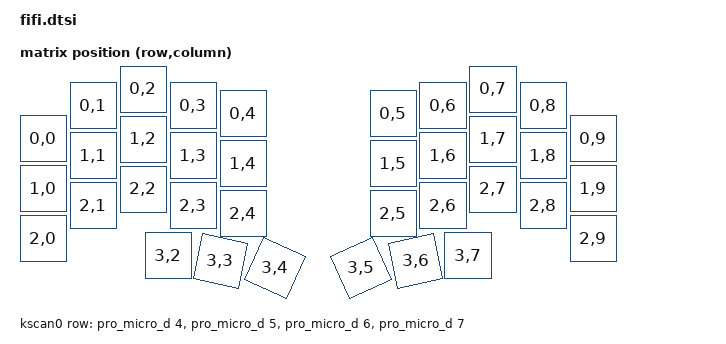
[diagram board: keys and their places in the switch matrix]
#include <dt-bindings/zmk/matrix_transform.h>
#include <physical_layouts.dtsi>

/ {
  chosen {
    zmk,kscan = &kscan0;
    zmk,physical-layout = &default_layout;
  };

  kscan0: kscan0 {
    compatible = "zmk,kscan-gpio-matrix";
    diode-direction = "col2row";
    wakeup-source;
    // defines a 40 key (4x10) grid together with the left/right pinsrow-gpios
    row-gpios
      = <&pro_micro_d 4 (GPIO_ACTIVE_HIGH | GPIO_PULL_DOWN)>
      , <&pro_micro_d 5 (GPIO_ACTIVE_HIGH | GPIO_PULL_DOWN)>
      , <&pro_micro_d 6 (GPIO_ACTIVE_HIGH | GPIO_PULL_DOWN)>
      , <&pro_micro_d 7 (GPIO_ACTIVE_HIGH | GPIO_PULL_DOWN)>
    ;
  };
  
  default_transform: keymap_transform_0 {
    compatible = "zmk,matrix-transform";
    columns = <10>;
    rows = <4>;
    map = <
      RC(0,0) RC(0,1) RC(0,2) RC(0,3) RC(0,4)  RC(0,5) RC(0,6) RC(0,7) RC(0,8) RC(0,9)
      RC(1,0) RC(1,1) RC(1,2) RC(1,3) RC(1,4)  RC(1,5) RC(1,6) RC(1,7) RC(1,8) RC(1,9)
      RC(2,0) RC(2,1) RC(2,2) RC(2,3) RC(2,4)  RC(2,5) RC(2,6) RC(2,7) RC(2,8) RC(2,9)
                      RC(3,2) RC(3,3) RC(3,4)  RC(3,5) RC(3,6) RC(3,7)
    >;
  };

  default_layout: physical_layout_0 {
    compatible = "zmk,physical-layout";
    display-name = "Default Layout";
    transform = <&default_transform>;

    keys  //                   w   h    x    y     rot    rx    ry
      = <&key_physical_attrs 100 100    0   99       0     0     0>
      , <&key_physical_attrs 100 100  100   33       0     0     0>
      , <&key_physical_attrs 100 100  200    0       0     0     0>
      , <&key_physical_attrs 100 100  300   33       0     0     0>
      , <&key_physical_attrs 100 100  400   49       0     0     0>
      , <&key_physical_attrs 100 100  700   49       0     0     0>
      , <&key_physical_attrs 100 100  800   33       0     0     0>
      , <&key_physical_attrs 100 100  900    0       0     0     0>
      , <&key_physical_attrs 100 100 1000   33       0     0     0>
      , <&key_physical_attrs 100 100 1100   99       0     0     0>
      , <&key_physical_attrs 100 100    0  199       0     0     0>
      , <&key_physical_attrs 100 100  100  133       0     0     0>
      , <&key_physical_attrs 100 100  200  100       0     0     0>
      , <&key_physical_attrs 100 100  300  133       0     0     0>
      , <&key_physical_attrs 100 100  400  149       0     0     0>
      , <&key_physical_attrs 100 100  700  149       0     0     0>
      , <&key_physical_attrs 100 100  800  133       0     0     0>
      , <&key_physical_attrs 100 100  900  100       0     0     0>
      , <&key_physical_attrs 100 100 1000  133       0     0     0>
      , <&key_physical_attrs 100 100 1100  199       0     0     0>
      , <&key_physical_attrs 100 100    0  299       0     0     0>
      , <&key_physical_attrs 100 100  100  233       0     0     0>
      , <&key_physical_attrs 100 100  200  200       0     0     0>
      , <&key_physical_attrs 100 100  300  233       0     0     0>
      , <&key_physical_attrs 100 100  400  249       0     0     0>
      , <&key_physical_attrs 100 100  700  249       0     0     0>
      , <&key_physical_attrs 100 100  800  233       0     0     0>
      , <&key_physical_attrs 100 100  900  200       0     0     0>
      , <&key_physical_attrs 100 100 1000  233       0     0     0>
      , <&key_physical_attrs 100 100 1100  299       0     0     0>
      , <&key_physical_attrs 100 100  250  333       0     0     0>
      , <&key_physical_attrs 100 100  350  333    1200   350   412>
      , <&key_physical_attrs 100 100  448  333    2400   448   433>
      , <&key_physical_attrs 100 100  652  333  (-2400)  752   433>
      , <&key_physical_attrs 100 100  750  333  (-1200)  850   412>
      , <&key_physical_attrs 100 100  850  333       0     0     0>
    ;
  };
};
